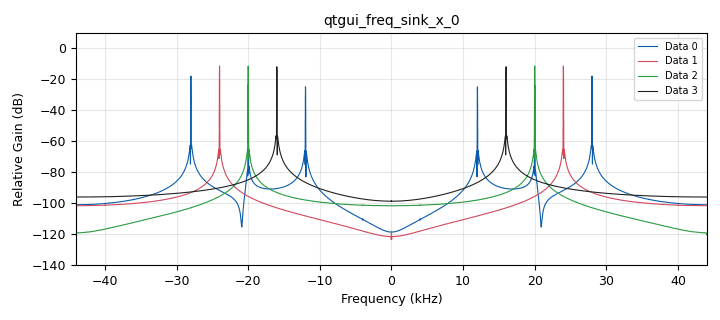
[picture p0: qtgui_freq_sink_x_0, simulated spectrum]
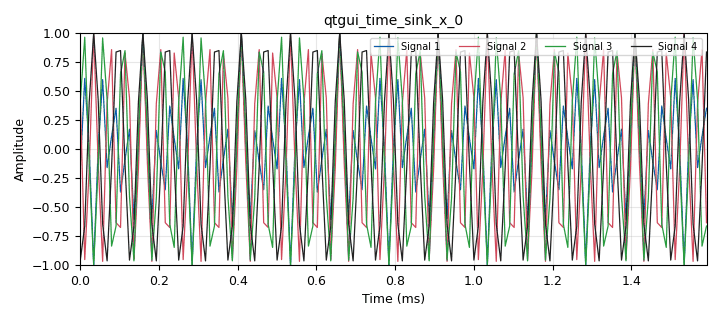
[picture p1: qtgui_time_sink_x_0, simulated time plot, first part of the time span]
options:
  parameters:
    author: Grupo03
    copyright: Grupo03
    generate_options: qt_gui
    id: Punto3
    output_language: python
    title: Punto3
  states: {}

blocks:
- name: samp_rate
  id: variable
  parameters:
    value: '88000'
  states: {state: disabled}
- name: samp_rate
  id: variable_qtgui_range
  parameters:
    label: samp_rate
    start: '24000'
    step: '1000'
    stop: 1.2e6
    value: '88000'
  states: {}
- name: analog_sig_source_x_0
  id: analog_sig_source_x
  parameters:
    amp: '1'
    freq: '24000'
    offset: '0'
    phase: '0'
    samp_rate: samp_rate
    type: float
    waveform: analog.GR_COS_WAVE
  states: {}
- name: analog_sig_source_x_1
  id: analog_sig_source_x
  parameters:
    amp: '1'
    freq: '20000'
    offset: '0'
    phase: '0'
    samp_rate: samp_rate
    type: float
    waveform: analog.GR_COS_WAVE
  states: {}
- name: analog_sig_source_x_1_0
  id: analog_sig_source_x
  parameters:
    amp: '1'
    freq: '16000'
    offset: '0'
    phase: '0'
    samp_rate: samp_rate
    type: float
    waveform: analog.GR_COS_WAVE
  states: {}
- name: blocks_multiply_xx_0
  id: blocks_multiply_xx
  parameters:
    num_inputs: '3'
    type: float
  states: {}
- name: blocks_throttle_0
  id: blocks_throttle
  parameters:
    samples_per_second: samp_rate
    type: float
  states: {}
- name: qtgui_freq_sink_x_0
  id: qtgui_freq_sink_x
  parameters:
    bw: samp_rate
    fc: '0'
    fftsize: '4096'
    nconnections: '4'
    type: float
    wintype: window.WIN_HAMMING
  states: {}
- name: qtgui_time_sink_x_0
  id: qtgui_time_sink_x
  parameters:
    entags: 'False'
    nconnections: '4'
    size: '1024'
    srate: samp_rate
    type: float
  states: {}

connections:
- [analog_sig_source_x_0, '0', blocks_multiply_xx_0, '0']
- [analog_sig_source_x_0, '0', qtgui_freq_sink_x_0, '1']
- [analog_sig_source_x_0, '0', qtgui_time_sink_x_0, '1']
- [analog_sig_source_x_1, '0', blocks_multiply_xx_0, '1']
- [analog_sig_source_x_1, '0', qtgui_freq_sink_x_0, '2']
- [analog_sig_source_x_1, '0', qtgui_time_sink_x_0, '2']
- [analog_sig_source_x_1_0, '0', blocks_multiply_xx_0, '2']
- [analog_sig_source_x_1_0, '0', qtgui_freq_sink_x_0, '3']
- [analog_sig_source_x_1_0, '0', qtgui_time_sink_x_0, '3']
- [blocks_multiply_xx_0, '0', blocks_throttle_0, '0']
- [blocks_throttle_0, '0', qtgui_freq_sink_x_0, '0']
- [blocks_throttle_0, '0', qtgui_time_sink_x_0, '0']

metadata:
  file_format: 1
